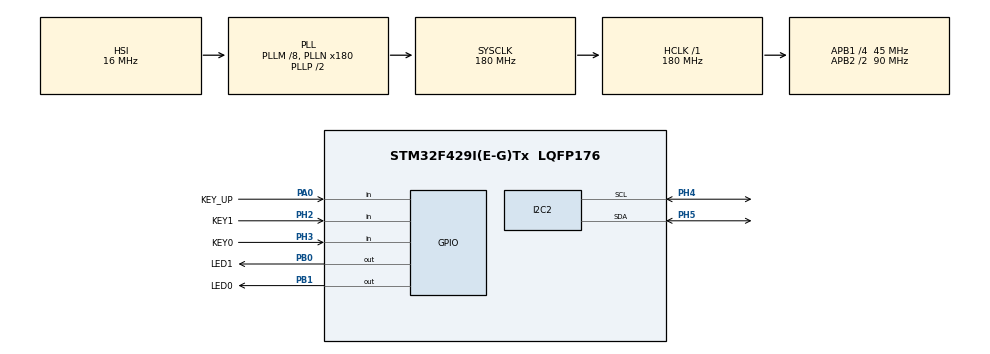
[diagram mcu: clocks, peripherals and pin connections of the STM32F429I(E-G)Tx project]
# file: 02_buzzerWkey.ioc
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Mcu.Family=STM32F4
Mcu.Name=STM32F429I(E-G)Tx
Mcu.Package=LQFP176
NVIC.PriorityGroup=NVIC_PRIORITYGROUP_4
PA0/WKUP.GPIO_Label=KEY_UP
PA0/WKUP.GPIO_PuPd=GPIO_PULLDOWN
PA0/WKUP.Signal=GPIO_Input
PA13.Mode=Serial_Wire
PA13.Signal=SYS_JTMS-SWDIO
PA14.Mode=Serial_Wire
PA14.Signal=SYS_JTCK-SWCLK
PB0.GPIO_Label=LED1
PB0.GPIO_PuPd=GPIO_PULLUP
PB0.Signal=GPIO_Output
PB1.GPIO_Label=LED0
PB1.GPIO_PuPd=GPIO_PULLUP
PB1.GPIO_Speed=GPIO_SPEED_FREQ_LOW
PB1.Signal=GPIO_Output
PC14/OSC32_IN.Mode=LSE-External-Oscillator
PC14/OSC32_IN.Signal=RCC_OSC32_IN
PC15/OSC32_OUT.Mode=LSE-External-Oscillator
PC15/OSC32_OUT.Signal=RCC_OSC32_OUT
PH0/OSC_IN.Mode=HSE-External-Oscillator
PH0/OSC_IN.Signal=RCC_OSC_IN
PH1/OSC_OUT.Mode=HSE-External-Oscillator
PH1/OSC_OUT.Signal=RCC_OSC_OUT
PH2.GPIO_Label=KEY1
PH2.GPIO_PuPd=GPIO_PULLUP
PH2.Signal=GPIO_Input
PH3.GPIO_Label=KEY0
PH3.GPIO_PuPd=GPIO_PULLUP
PH3.Signal=GPIO_Input
PH4.GPIO_Pu=GPIO_PULLUP
PH4.Mode=I2C
PH4.Signal=I2C2_SCL
PH5.GPIO_Pu=GPIO_PULLUP
PH5.Mode=I2C
PH5.Signal=I2C2_SDA
ProjectManager.HeapSize=0x200
ProjectManager.StackSize=0x400
ProjectManager.TargetToolchain=STM32CubeIDE
RCC.48MHZClocksFreq_Value=90000000
RCC.AHBFreq_Value=180000000
RCC.APB1CLKDivider=RCC_HCLK_DIV4
RCC.APB1Freq_Value=45000000
RCC.APB1TimFreq_Value=90000000
RCC.APB2CLKDivider=RCC_HCLK_DIV2
RCC.APB2Freq_Value=90000000
RCC.APB2TimFreq_Value=180000000
RCC.CortexFreq_Value=180000000
RCC.HCLKFreq_Value=180000000
RCC.HSE_VALUE=25000000
RCC.HSI_VALUE=16000000
RCC.PLLM=8
RCC.PLLN=180
RCC.SYSCLKFreq_VALUE=180000000
RCC.SYSCLKSource=RCC_SYSCLKSOURCE_PLLCLK
RCC.VCOOutputFreq_Value=360000000
board=custom

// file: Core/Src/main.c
/* USER CODE BEGIN Header */
/**
  ******************************************************************************
  * @file           : main.c
  * @brief          : Main program body
  ******************************************************************************
  * @attention
  *
  * Copyright (c) 2025 STMicroelectronics.
  * All rights reserved.
  *
  * This software is licensed under terms that can be found in the LICENSE file
  * in the root directory of this software component.
  * If no LICENSE file comes with this software, it is provided AS-IS.
  *
  ******************************************************************************
  */
/* USER CODE END Header */
#include "main.h"
#include "i2c.h"
#include "gpio.h"

void SystemClock_Config(void);

int main(void)
{

  /* MCU Configuration--------------------------------------------------------*/

  /* Reset of all peripherals, Initializes the Flash interface and the Systick. */
  HAL_Init();

  /* Configure the system clock */
  SystemClock_Config();

  /* Initialize all configured peripherals */
  MX_GPIO_Init();
  MX_I2C2_Init();
  Buzzer_Init();

  /* Infinite loop */
  /* USER CODE BEGIN WHILE */
  while (1)
  {
	  if(HAL_GPIO_ReadPin(KEY_UP_GPIO_Port, KEY_UP_Pin) == GPIO_PIN_SET){
		  HAL_Delay(10);
		  if(HAL_GPIO_ReadPin(KEY_UP_GPIO_Port, KEY_UP_Pin) == GPIO_PIN_SET){
			  Buzzer_Toggle();
		  }
		  while(HAL_GPIO_ReadPin(KEY_UP_GPIO_Port, KEY_UP_Pin) == GPIO_PIN_SET);
	  }
	  else if(HAL_GPIO_ReadPin(KEY0_GPIO_Port, KEY0_Pin) == GPIO_PIN_RESET){
	  		  HAL_Delay(10);
	  		  if(HAL_GPIO_ReadPin(KEY0_GPIO_Port, KEY0_Pin) == GPIO_PIN_RESET){
	  			  HAL_GPIO_TogglePin(LED0_GPIO_Port, LED0_Pin);
	  		  }
	  		  while(HAL_GPIO_ReadPin(KEY0_GPIO_Port, KEY0_Pin) == GPIO_PIN_RESET);
	  	  }
	  else if(HAL_GPIO_ReadPin(KEY1_GPIO_Port, KEY1_Pin) == GPIO_PIN_RESET){
	  		  HAL_Delay(10);
	  		  if(HAL_GPIO_ReadPin(KEY1_GPIO_Port, KEY1_Pin) == GPIO_PIN_RESET){
	  			HAL_GPIO_TogglePin(LED1_GPIO_Port, LED1_Pin);
	  		  }
	  		  while(HAL_GPIO_ReadPin(KEY1_GPIO_Port, KEY1_Pin) == GPIO_PIN_RESET);
	  	  }
	  HAL_Delay(10);

    /* USER CODE END WHILE */

  }
}

void SystemClock_Config(void)
{
  RCC_OscInitTypeDef RCC_OscInitStruct = {0};
  RCC_ClkInitTypeDef RCC_ClkInitStruct = {0};

  /** Configure the main internal regulator output voltage
  */
  __HAL_RCC_PWR_CLK_ENABLE();
  __HAL_PWR_VOLTAGESCALING_CONFIG(PWR_REGULATOR_VOLTAGE_SCALE1);

  /** Initializes the RCC Oscillators according to the specified parameters
  * in the RCC_OscInitTypeDef structure.
  */
  RCC_OscInitStruct.OscillatorType = RCC_OSCILLATORTYPE_HSI;
  RCC_OscInitStruct.HSIState = RCC_HSI_ON;
  RCC_OscInitStruct.HSICalibrationValue = RCC_HSICALIBRATION_DEFAULT;
  RCC_OscInitStruct.PLL.PLLState = RCC_PLL_ON;
  RCC_OscInitStruct.PLL.PLLSource = RCC_PLLSOURCE_HSI;
  RCC_OscInitStruct.PLL.PLLM = 8;
  RCC_OscInitStruct.PLL.PLLN = 180;
  RCC_OscInitStruct.PLL.PLLP = RCC_PLLP_DIV2;
  RCC_OscInitStruct.PLL.PLLQ = 4;
  if (HAL_RCC_OscConfig(&RCC_OscInitStruct) != HAL_OK)
  {
    Error_Handler();
  }

  /** Activate the Over-Drive mode
  */
  if (HAL_PWREx_EnableOverDrive() != HAL_OK)
  {
    Error_Handler();
  }

  /** Initializes the CPU, AHB and APB buses clocks
  */
  RCC_ClkInitStruct.ClockType = RCC_CLOCKTYPE_HCLK|RCC_CLOCKTYPE_SYSCLK
                              |RCC_CLOCKTYPE_PCLK1|RCC_CLOCKTYPE_PCLK2;
  RCC_ClkInitStruct.SYSCLKSource = RCC_SYSCLKSOURCE_PLLCLK;
  RCC_ClkInitStruct.AHBCLKDivider = RCC_SYSCLK_DIV1;
  RCC_ClkInitStruct.APB1CLKDivider = RCC_HCLK_DIV4;
  RCC_ClkInitStruct.APB2CLKDivider = RCC_HCLK_DIV2;

  if (HAL_RCC_ClockConfig(&RCC_ClkInitStruct, FLASH_LATENCY_5) != HAL_OK)
  {
    Error_Handler();
  }
}

void Error_Handler(void)
{
  __disable_irq();
  while (1)
  {
  }
}
